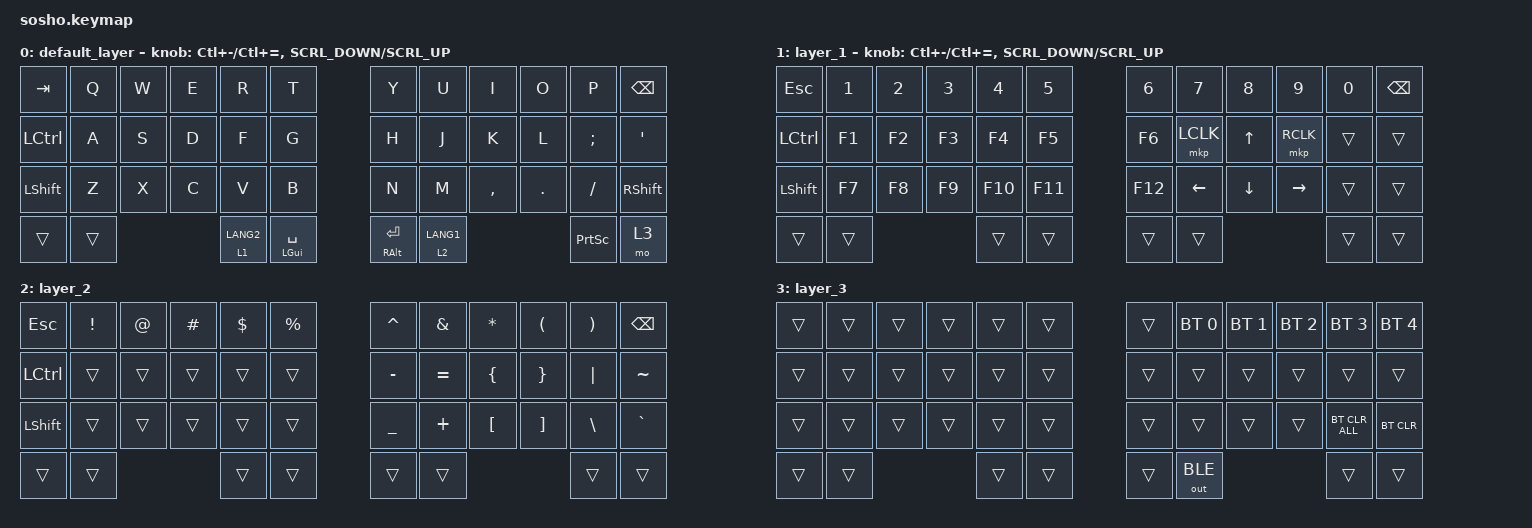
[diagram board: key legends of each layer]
//スクロール量の調整(デフォルト150)
#define ZMK_POINTING_DEFAULT_SCRL_VAL 150

#include <behaviors.dtsi>
#include <dt-bindings/zmk/bt.h>
#include <dt-bindings/zmk/keys.h>
#include <dt-bindings/zmk/pointing.h>
#include <dt-bindings/zmk/outputs.h>

/ {
	behaviors {
		// エンコーダ用マウススクロール（elekit zmk_encoderモジュール）
		ec_ms_l: ec_ms_h {
			compatible = "zmk,behavior-encoder-mouse-scroll";
			#sensor-binding-cells = <2>;
		};
		ec_ms_r: ec_ms_v {
			compatible = "zmk,behavior-encoder-mouse-scroll";
			#sensor-binding-cells = <2>;
		};
	};
};

//スクロールの調整
&msc {
    time-to-max-speed-ms = <0>;   // 即座に最大速度（加速なし）
    acceleration-exponent = <0>;   // 加速なし
};
/{
    combos {
        compatible = "zmk,combos";
        prioritize-longer-keys;
		//左クリックのコンボ 19 J 20 K
	    combo_LCLK {
            timeout-ms = <50>;
            key-positions = <19 20>;
            bindings = <&mkp LCLK>;
        };

		//右クリックのコンボ 20 K 21 L
        combo_RCLK {
            timeout-ms = <50>;
            key-positions = <20 21>;
            bindings = <&mkp RCLK>;
        };

		//ホイールクリックのコンボ 19 J 21 L
	    combo_MCLK {
            timeout-ms = <90>;
            key-positions = <19 21>;
            bindings = <&mkp MCLK>;
        };

		//作ったけど消した。ポインティングデバイスをスクロールにしたい人向け
		//31 M 32 ,
		//combo_SCROLL {
        //    timeout-ms = <50>;
        //    key-positions = <31 32>;
        //    bindings = <&mo 4>;
        //};
    };
};

/{
keymap {
        compatible = "zmk,keymap";

        // -----------------------------------------------------------------------------------------
        // LAYER 0: Default Layer (最下段カスタム仕様)
        // -----------------------------------------------------------------------------------------
        default_layer {
            bindings = <
    &kp TAB    &kp Q   &kp W  &kp E  &kp R  &kp T       &kp Y  &kp U  &kp I      &kp O    &kp P     &kp BSPC
    &kp LCTRL  &kp A   &kp S  &kp D  &kp F  &kp G       &kp H  &kp J  &kp K      &kp L    &kp SEMI  &kp SQT
    &kp LSHFT  &kp Z   &kp X  &kp C  &kp V  &kp B       &kp N  &kp M  &kp COMMA  &kp DOT  &kp SLASH &kp RSHFT
    &trans     &trans         &lt 1 LANG2   &mt LGUI SPACE   &mt RALT RET  &lt 2 LANG1         &kp PSCRN &mo 3
            >;
            // トラックボール/パッドによるスクロールバインディング
            sensor-bindings = <&inc_dec_kp LC(MINUS) LC(EQUAL) &ec_ms_r SCRL_DOWN SCRL_UP>;
        };

        // -----------------------------------------------------------------------------------------
        // LAYER 1: Lower (Keyball44風 数字・ナビゲーション・マウスボタン)
        // -----------------------------------------------------------------------------------------
        layer_1 {
            bindings = <
    &kp ESC    &kp N1  &kp N2  &kp N3  &kp N4  &kp N5      &kp N6   &kp N7    &kp N8   &kp N9    &kp N0  &kp BSPC
    &kp LCTRL  &kp F1  &kp F2  &kp F3  &kp F4  &kp F5      &kp F6   &mkp LCLK &kp UP   &mkp RCLK &trans  &trans
    &kp LSHFT  &kp F7  &kp F8  &kp F9  &kp F10 &kp F11     &kp F12  &kp LEFT  &kp DOWN &kp RIGHT &trans  &trans
    &trans     &trans                   &trans  &trans      &trans   &trans                        &trans  &trans
            >;
            sensor-bindings = <&inc_dec_kp LC(MINUS) LC(EQUAL) &ec_ms_r SCRL_DOWN SCRL_UP>;
        };

        // -----------------------------------------------------------------------------------------
        // LAYER 2: Raise (Keyball44画像から100%復元した記号レイヤー)
        // -----------------------------------------------------------------------------------------
        layer_2 {
            bindings = <
    &kp ESC    &kp EXCL &kp AT   &kp HASH &kp DLLR &kp PRCNT   &kp CARET &kp AMPS  &kp ASTRK &kp LPAR &kp RPAR &kp BSPC
    &kp LCTRL  &trans   &trans   &trans   &trans   &trans      &kp MINUS &kp EQUAL &kp LBRC  &kp RBRC &kp PIPE &kp TILDE
    &kp LSHFT  &trans   &trans   &trans   &trans   &trans      &kp UNDER &kp PLUS  &kp LBKT  &kp RBKT &kp BSLH  &kp GRAVE
    &trans     &trans                     &trans   &trans      &trans    &trans                       &trans   &trans
            >;
        };

        // -----------------------------------------------------------------------------------------
        // LAYER 3: BT/System
        // -----------------------------------------------------------------------------------------
        layer_3 {
            bindings = <
    &trans &trans &trans &trans &trans &trans      &trans  &bt BT_SEL 0  &bt BT_SEL 1  &bt BT_SEL 2  &bt BT_SEL 3   &bt BT_SEL 4
    &trans &trans &trans &trans &trans &trans      &trans  &trans        &trans        &trans        &trans         &trans
    &trans &trans &trans &trans &trans &trans      &trans  &trans        &trans        &trans        &bt BT_CLR_ALL &bt BT_CLR
    &trans &trans                      &trans      &trans  &trans        &out OUT_BLE                               &trans &trans
            >;
        };
    };
};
